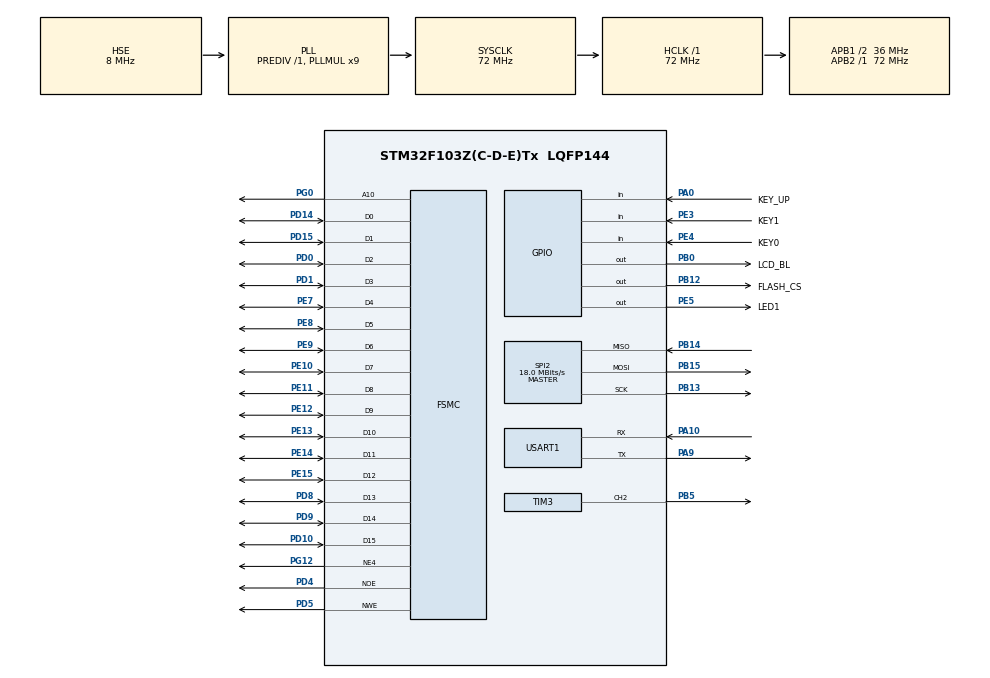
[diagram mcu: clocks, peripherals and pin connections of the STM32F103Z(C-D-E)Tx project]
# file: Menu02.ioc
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FSMC.AddressSetupTime1=3
FSMC.DataSetupTime1=5
Mcu.Family=STM32F1
Mcu.Name=STM32F103Z(C-D-E)Tx
Mcu.Package=LQFP144
NVIC.PriorityGroup=NVIC_PRIORITYGROUP_4
OSC_IN.Mode=HSE-External-Oscillator
OSC_IN.Signal=RCC_OSC_IN
OSC_OUT.Mode=HSE-External-Oscillator
OSC_OUT.Signal=RCC_OSC_OUT
PA0-WKUP.GPIO_Label=KEY_UP
PA0-WKUP.GPIO_PuPd=GPIO_PULLDOWN
PA0-WKUP.Signal=GPIO_Input
PA10.Mode=Asynchronous
PA10.Signal=USART1_RX
PA13.Mode=Serial_Wire
PA13.Signal=SYS_JTMS-SWDIO
PA14.Mode=Serial_Wire
PA14.Signal=SYS_JTCK-SWCLK
PA9.Mode=Asynchronous
PA9.Signal=USART1_TX
PB0.GPIO_Label=LCD_BL
PB0.GPIO_Speed=GPIO_SPEED_FREQ_HIGH
PB0.PinState=GPIO_PIN_SET
PB0.Signal=GPIO_Output
PB12.GPIO_Label=FLASH_CS
PB12.GPIO_Speed=GPIO_SPEED_FREQ_HIGH
PB12.PinState=GPIO_PIN_SET
PB12.Signal=GPIO_Output
PB13.Mode=Full_Duplex_Master
PB13.Signal=SPI2_SCK
PB14.Mode=Full_Duplex_Master
PB14.Signal=SPI2_MISO
PB15.Mode=Full_Duplex_Master
PB15.Signal=SPI2_MOSI
PB5.Signal=S_TIM3_CH2
PC14-OSC32_IN.Mode=LSE-External-Oscillator
PC14-OSC32_IN.Signal=RCC_OSC32_IN
PC15-OSC32_OUT.Mode=LSE-External-Oscillator
PC15-OSC32_OUT.Signal=RCC_OSC32_OUT
PD0.Signal=FSMC_D2_DA2
PD1.Signal=FSMC_D3_DA3
PD10.Signal=FSMC_D15_DA15
PD14.Signal=FSMC_D0_DA0
PD15.Signal=FSMC_D1_DA1
PD4.Signal=FSMC_NOE
PD5.Signal=FSMC_NWE
PD8.Signal=FSMC_D13_DA13
PD9.Signal=FSMC_D14_DA14
PE10.Signal=FSMC_D7_DA7
PE11.Signal=FSMC_D8_DA8
PE12.Signal=FSMC_D9_DA9
PE13.Signal=FSMC_D10_DA10
PE14.Signal=FSMC_D11_DA11
PE15.Signal=FSMC_D12_DA12
PE3.GPIO_Label=KEY1
PE3.GPIO_PuPd=GPIO_PULLUP
PE3.Signal=GPIO_Input
PE4.GPIO_Label=KEY0
PE4.GPIO_PuPd=GPIO_PULLUP
PE4.Signal=GPIO_Input
PE5.GPIO_Label=LED1
PE5.GPIO_PuPd=GPIO_PULLUP
PE5.GPIO_Speed=GPIO_SPEED_FREQ_HIGH
PE5.PinState=GPIO_PIN_SET
PE5.Signal=GPIO_Output
PE7.Signal=FSMC_D4_DA4
PE8.Signal=FSMC_D5_DA5
PE9.Signal=FSMC_D6_DA6
PG0.Signal=FSMC_A10
PG12.Mode=NorPsramChipSelect4_1
PG12.Signal=FSMC_NE4
ProjectManager.HeapSize=0x200
ProjectManager.StackSize=0x400
ProjectManager.TargetToolchain=MDK-ARM V5.32
RCC.AHBFreq_Value=72000000
RCC.APB1CLKDivider=RCC_HCLK_DIV2
RCC.APB1Freq_Value=36000000
RCC.APB1TimFreq_Value=72000000
RCC.APB2Freq_Value=72000000
RCC.APB2TimFreq_Value=72000000
RCC.HCLKFreq_Value=72000000
RCC.PLLMUL=RCC_PLL_MUL9
RCC.PLLSourceVirtual=RCC_PLLSOURCE_HSE
RCC.SYSCLKFreq_VALUE=72000000
RCC.SYSCLKSource=RCC_SYSCLKSOURCE_PLLCLK
RCC.USBFreq_Value=72000000
SH.FSMC_A10.0=FSMC_A10,A10_1
SH.FSMC_D0_DA0.0=FSMC_D0,16b-d1
SH.FSMC_D10_DA10.0=FSMC_D10,16b-d1
SH.FSMC_D11_DA11.0=FSMC_D11,16b-d1
SH.FSMC_D12_DA12.0=FSMC_D12,16b-d1
SH.FSMC_D13_DA13.0=FSMC_D13,16b-d1
SH.FSMC_D14_DA14.0=FSMC_D14,16b-d1
SH.FSMC_D15_DA15.0=FSMC_D15,16b-d1
SH.FSMC_D1_DA1.0=FSMC_D1,16b-d1
SH.FSMC_D2_DA2.0=FSMC_D2,16b-d1
SH.FSMC_D3_DA3.0=FSMC_D3,16b-d1
SH.FSMC_D4_DA4.0=FSMC_D4,16b-d1
SH.FSMC_D5_DA5.0=FSMC_D5,16b-d1
SH.FSMC_D6_DA6.0=FSMC_D6,16b-d1
SH.FSMC_D7_DA7.0=FSMC_D7,16b-d1
SH.FSMC_D8_DA8.0=FSMC_D8,16b-d1
SH.FSMC_D9_DA9.0=FSMC_D9,16b-d1
SH.FSMC_NOE.0=FSMC_NOE,Lcd1
SH.FSMC_NWE.0=FSMC_NWE,Lcd1
SH.S_TIM3_CH2.0=TIM3_CH2,PWM Generation2 CH2
SPI2.CalculateBaudRate=18.0 MBits/s
SPI2.Direction=SPI_DIRECTION_2LINES
SPI2.Mode=SPI_MODE_MASTER
SPI2.VirtualType=VM_MASTER
TIM3.AutoReloadPreload=TIM_AUTORELOAD_PRELOAD_ENABLE
TIM3.Channel-PWM\ Generation2\ CH2=TIM_CHANNEL_2
TIM3.OCPolarity_2=TIM_OCPOLARITY_LOW
TIM3.Period=99
TIM3.Prescaler=7199
USART1.VirtualMode=VM_ASYNC
board=custom

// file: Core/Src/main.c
/* USER CODE BEGIN Header */
/**
  ******************************************************************************
  * @file           : main.c
  * @brief          : Main program body
  ******************************************************************************
  * @attention
  *
  * Copyright (c) 2026 STMicroelectronics.
  * All rights reserved.
  *
  * This software is licensed under terms that can be found in the LICENSE file
  * in the root directory of this software component.
  * If no LICENSE file comes with this software, it is provided AS-IS.
  *
  ******************************************************************************
  */
/* USER CODE END Header */
#include "main.h"
#include "spi.h"
#include "tim.h"
#include "usart.h"
#include "gpio.h"
#include "fsmc.h"

/* USER CODE BEGIN Includes */
#include <stdio.h>
#include "lcd.h"
#include "key.h"
#include "menu.h"
#include "tim.h"
#include "flash.h"
#include "log.h"
/* USER CODE END Includes */

void SystemClock_Config(void);

int main(void)
{

  /* MCU Configuration--------------------------------------------------------*/

  /* Reset of all peripherals, Initializes the Flash interface and the Systick. */
  HAL_Init();

  /* Configure the system clock */
  SystemClock_Config();

  /* Initialize all configured peripherals */
  MX_GPIO_Init();
  MX_USART1_UART_Init();
  MX_FSMC_Init();
  MX_TIM3_Init();
  MX_SPI2_Init();
  Flash_Init();
  Log_Init();
  /* USER CODE BEGIN 2 */
  HAL_TIM_PWM_Start(&htim3, TIM_CHANNEL_2);   /* 必须在 MX_TIM3_Init 之后 */

  printf("S1: before LCD_Init\r\n");
  LCD_Init();
  printf("S2: LCD_Init done, ID = %#x\r\n", (unsigned)LCD_ReadId());

  Menu_Init();
  printf("S5: menu ready\r\n");
  /* USER CODE END 2 */

  /* Infinite loop */
  while (1)
  {

    /* USER CODE BEGIN 3 */
    Key_Scan();
    Menu_Scan();
  }
  /* USER CODE END 3 */
}

void SystemClock_Config(void)
{
  RCC_OscInitTypeDef RCC_OscInitStruct = {0};
  RCC_ClkInitTypeDef RCC_ClkInitStruct = {0};

  /** Initializes the RCC Oscillators according to the specified parameters
  * in the RCC_OscInitTypeDef structure.
  */
  RCC_OscInitStruct.OscillatorType = RCC_OSCILLATORTYPE_HSE;
  RCC_OscInitStruct.HSEState = RCC_HSE_ON;
  RCC_OscInitStruct.HSEPredivValue = RCC_HSE_PREDIV_DIV1;
  RCC_OscInitStruct.HSIState = RCC_HSI_ON;
  RCC_OscInitStruct.PLL.PLLState = RCC_PLL_ON;
  RCC_OscInitStruct.PLL.PLLSource = RCC_PLLSOURCE_HSE;
  RCC_OscInitStruct.PLL.PLLMUL = RCC_PLL_MUL9;
  if (HAL_RCC_OscConfig(&RCC_OscInitStruct) != HAL_OK)
  {
    Error_Handler();
  }

  /** Initializes the CPU, AHB and APB buses clocks
  */
  RCC_ClkInitStruct.ClockType = RCC_CLOCKTYPE_HCLK|RCC_CLOCKTYPE_SYSCLK
                              |RCC_CLOCKTYPE_PCLK1|RCC_CLOCKTYPE_PCLK2;
  RCC_ClkInitStruct.SYSCLKSource = RCC_SYSCLKSOURCE_PLLCLK;
  RCC_ClkInitStruct.AHBCLKDivider = RCC_SYSCLK_DIV1;
  RCC_ClkInitStruct.APB1CLKDivider = RCC_HCLK_DIV2;
  RCC_ClkInitStruct.APB2CLKDivider = RCC_HCLK_DIV1;

  if (HAL_RCC_ClockConfig(&RCC_ClkInitStruct, FLASH_LATENCY_2) != HAL_OK)
  {
    Error_Handler();
  }
}

void Error_Handler(void)
{
  __disable_irq();
  while (1)
  {
  }
}
